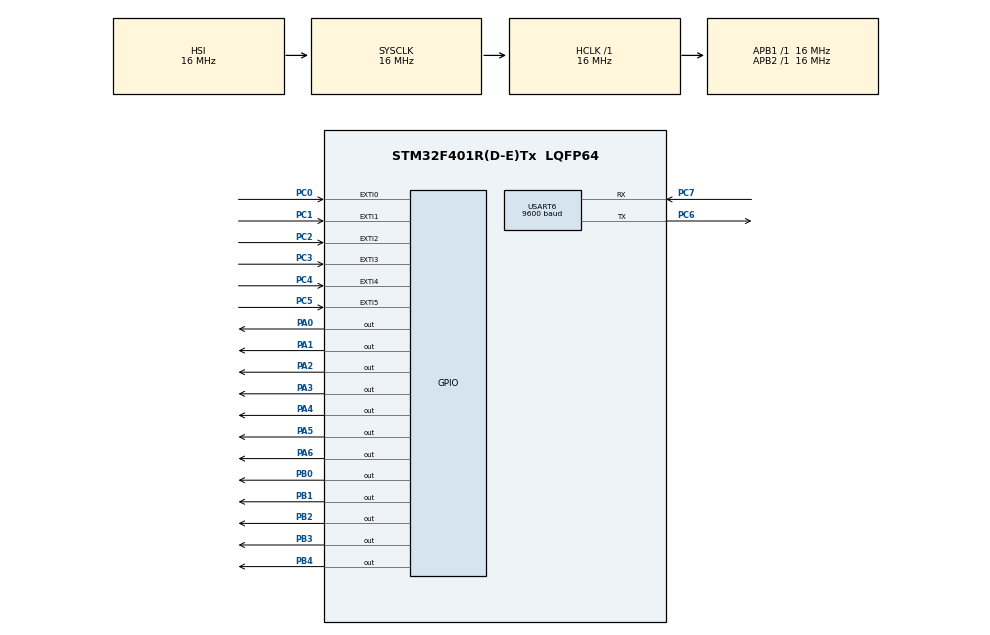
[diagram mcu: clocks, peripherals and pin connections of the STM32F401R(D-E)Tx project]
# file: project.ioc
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Mcu.Family=STM32F4
NVIC.EXTI4_IRQn=true\:0\:0\:false\:false\:true\:true\:true
RCC.CortexFreq_Value=16000000
PC2.Signal=GPXTI2
PC4.Signal=GPXTI4
PC6.Signal=USART6_TX
NVIC.EXTI3_IRQn=true\:0\:0\:false\:false\:true\:true\:true
PC0.Signal=GPXTI0
ProjectManager.StackSize=0x400
PA0-WKUP.Signal=GPIO_Output
NVIC.USART6_IRQn=true\:0\:0\:false\:false\:true\:true\:true
NVIC.EXTI1_IRQn=true\:0\:0\:false\:false\:true\:true\:true
ProjectManager.TargetToolchain=MDK-ARM V5.27
PC6.Mode=Asynchronous
PC7.Signal=USART6_RX
PC3.Signal=GPXTI3
RCC.LSE_VALUE=32768
PA1.Signal=GPIO_Output
RCC.AHBFreq_Value=16000000
PA5.Signal=GPIO_Output
RCC.HSE_VALUE=25000000
PB2.Signal=GPIO_Output
board=custom
RCC.VCOOutputFreq_Value=192000000
RCC.APB2Freq_Value=16000000
Mcu.Name=STM32F401R(D-E)Tx
PA2.Signal=GPIO_Output
PC0.GPIO_ModeDefaultEXTI=GPIO_MODE_IT_RISING_FALLING
PB3.Signal=GPIO_Output
NVIC.EXTI0_IRQn=true\:0\:0\:false\:false\:true\:true\:true
PA4.Signal=GPIO_Output
RCC.SYSCLKFreq_VALUE=16000000
Mcu.Package=LQFP64
PA6.Signal=GPIO_Output
PB1.Signal=GPIO_Output
USART6.VirtualMode=VM_ASYNC
NVIC.EXTI9_5_IRQn=true\:0\:0\:false\:false\:true\:true\:true
ProjectManager.HeapSize=0x200
USART6.BaudRate=9600
RCC.HSI_VALUE=16000000
NVIC.PriorityGroup=NVIC_PRIORITYGROUP_4
NVIC.EXTI2_IRQn=true\:0\:0\:false\:false\:true\:true\:true
PC1.GPIO_ModeDefaultEXTI=GPIO_MODE_IT_RISING_FALLING
PC5.Signal=GPXTI5
PC7.Mode=Asynchronous
RCC.APB1Freq_Value=16000000
PB0.Signal=GPIO_Output
PC1.Signal=GPXTI1
PB4.Signal=GPIO_Output
PA3.Signal=GPIO_Output

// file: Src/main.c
/* USER CODE BEGIN Header */
/**
  ******************************************************************************
  * @file           : main.c
  * @brief          : Main program body
  ******************************************************************************
  * @attention
  *
  * <h2><center>&copy; Copyright (c) 2022 STMicroelectronics.
  * All rights reserved.</center></h2>
  *
  * This software component is licensed by ST under BSD 3-Clause license,
  * the "License"; You may not use this file except in compliance with the
  * License. You may obtain a copy of the License at:
  *                        opensource.org/licenses/BSD-3-Clause
  *
  ******************************************************************************
  */
/* USER CODE END Header */
#include "main.h"

/* USER CODE BEGIN PD */

#define MASK(x) (1UL << (x))

/* USER CODE END PD */

/* USER CODE BEGIN PM */

volatile int state_sel = 0;
volatile int leds[4][4] = {0} ;
volatile uint16_t seven_seg[3] = {0x003F , 0x0006, 0x005B};
volatile uint8_t data_frames[4] = {'\0'};
volatile uint8_t read_frames[2] = {'\0'};
char RxBuffer[1] = {0};
volatile uint16_t GPIO_PINS[8] = {

	GPIO_PIN_0, GPIO_PIN_1,
	GPIO_PIN_2, GPIO_PIN_3,
	GPIO_PIN_4, GPIO_PIN_5,
	GPIO_PIN_6, GPIO_PIN_7

};

/* USER CODE END PM */

UART_HandleTypeDef huart6;

void SystemClock_Config(void);
static void MX_GPIO_Init(void);
static void MX_USART6_UART_Init(void);

/* USER CODE BEGIN 0 */
void write_master_leds(int count){
	for (int i= 0; i<count; i++){
		HAL_GPIO_WritePin(GPIOB, GPIO_PINS[i], leds[state_sel][i]);
	}

}

void assert_bus(){
	HAL_GPIO_WritePin(GPIOB, GPIO_PIN_4, GPIO_PIN_SET);
}
void disassert_bus(){
	HAL_GPIO_WritePin(GPIOB, GPIO_PIN_4, GPIO_PIN_RESET);

}

void create_dataframe(uint8_t addr, uint8_t led_number, uint8_t data){
	sprintf(data_frames, "%hhu%hhu%hhu", addr, led_number, data);
}

/*
void attempt_to_read(){
	uint8_t addr = 0 ;
	uint8_t rw =  0;
	sprintf(read_frames, "%hhu%hhu", addr, rw);
	HAL_UART_Transmit(&huart6, read_frames, sizeof(read_frames), 100);

}
*/

void checkRx(){
	int num = RxBuffer[0] - '0';
	num = num - 4;
	HAL_GPIO_TogglePin(GPIOB, GPIO_PINS[num]);

}

/*
void HAL_UART_RxCpltCallback(UART_HandleTypeDef *huart) {
	int num = RxBuffer[0] - '0';
	num = num - 4;
	HAL_GPIO_TogglePin(GPIOB, GPIO_PINS[num]);

}
*/

void HAL_GPIO_EXTI_Callback(uint16_t GPIO_Pin)
{

	uint16_t GPIOC_PINS[4] = {GPIO_PIN_2, GPIO_PIN_3, GPIO_PIN_4, GPIO_PIN_5};

	uint8_t addr = 0 ;
	uint8_t rw = 0 ;
	uint8_t data = 0;
	state_sel =  GPIOC->IDR & 3;

	for (int i= 0; i<4; i++){
		if(GPIO_Pin == GPIOC_PINS[i]){

			leds[state_sel][i] ^= 1;  //togle selected led in the slave

			//assign values to frames
			addr = state_sel ;
	    rw =  1;
	    data = i;
			create_dataframe(addr, rw, data);
			//send
			if (state_sel == 1){
			assert_bus();
			HAL_UART_Transmit(&huart6, data_frames, sizeof(data_frames), 100);
			disassert_bus();
			}
	 }
	}

}

/* USER CODE END 0 */

int main(void)
{

  /* MCU Configuration--------------------------------------------------------*/

  /* Reset of all peripherals, Initializes the Flash interface and the Systick. */
  HAL_Init();

  /* Configure the system clock */
  SystemClock_Config();

  /* Initialize all configured peripherals */
  MX_GPIO_Init();
  MX_USART6_UART_Init();
  /* USER CODE BEGIN 2 */
	int rcv = 100;
	HAL_GPIO_WritePin(GPIOB, GPIO_PIN_4, GPIO_PIN_RESET);

  /* USER CODE END 2 */

  /* Infinite loop */
  while (1)
  {

    /* USER CODE BEGIN 3 */

		CLEAR_BIT(GPIOA->ODR, 0x7F); //clear PA0-PA6
		SET_BIT(GPIOA->ODR, seven_seg[state_sel]);

		write_master_leds(4);

		HAL_UART_Receive(&huart6, (uint8_t*)RxBuffer, 1, 100);
		rcv = RxBuffer[0] - '0';
		if ((rcv > 3 && rcv < 8) && state_sel == 1){
			leds[state_sel][rcv - 4] ^= 1;

		}
		//HAL_Delay(50);

  }
  /* USER CODE END 3 */
}

void SystemClock_Config(void)
{
  RCC_OscInitTypeDef RCC_OscInitStruct = {0};
  RCC_ClkInitTypeDef RCC_ClkInitStruct = {0};

  /** Configure the main internal regulator output voltage
  */
  __HAL_RCC_PWR_CLK_ENABLE();
  __HAL_PWR_VOLTAGESCALING_CONFIG(PWR_REGULATOR_VOLTAGE_SCALE2);
  /** Initializes the RCC Oscillators according to the specified parameters
  * in the RCC_OscInitTypeDef structure.
  */
  RCC_OscInitStruct.OscillatorType = RCC_OSCILLATORTYPE_HSI;
  RCC_OscInitStruct.HSIState = RCC_HSI_ON;
  RCC_OscInitStruct.HSICalibrationValue = RCC_HSICALIBRATION_DEFAULT;
  RCC_OscInitStruct.PLL.PLLState = RCC_PLL_NONE;
  if (HAL_RCC_OscConfig(&RCC_OscInitStruct) != HAL_OK)
  {
    Error_Handler();
  }
  /** Initializes the CPU, AHB and APB buses clocks
  */
  RCC_ClkInitStruct.ClockType = RCC_CLOCKTYPE_HCLK|RCC_CLOCKTYPE_SYSCLK
                              |RCC_CLOCKTYPE_PCLK1|RCC_CLOCKTYPE_PCLK2;
  RCC_ClkInitStruct.SYSCLKSource = RCC_SYSCLKSOURCE_HSI;
  RCC_ClkInitStruct.AHBCLKDivider = RCC_SYSCLK_DIV1;
  RCC_ClkInitStruct.APB1CLKDivider = RCC_HCLK_DIV1;
  RCC_ClkInitStruct.APB2CLKDivider = RCC_HCLK_DIV1;

  if (HAL_RCC_ClockConfig(&RCC_ClkInitStruct, FLASH_LATENCY_0) != HAL_OK)
  {
    Error_Handler();
  }
}

static void MX_USART6_UART_Init(void)
{

  huart6.Instance = USART6;
  huart6.Init.BaudRate = 9600;
  huart6.Init.WordLength = UART_WORDLENGTH_8B;
  huart6.Init.StopBits = UART_STOPBITS_1;
  huart6.Init.Parity = UART_PARITY_NONE;
  huart6.Init.Mode = UART_MODE_TX_RX;
  huart6.Init.HwFlowCtl = UART_HWCONTROL_NONE;
  huart6.Init.OverSampling = UART_OVERSAMPLING_16;
  if (HAL_UART_Init(&huart6) != HAL_OK)
  {
    Error_Handler();
  }

}

static void MX_GPIO_Init(void)
{
  GPIO_InitTypeDef GPIO_InitStruct = {0};

  /* GPIO Ports Clock Enable */
  __HAL_RCC_GPIOC_CLK_ENABLE();
  __HAL_RCC_GPIOA_CLK_ENABLE();
  __HAL_RCC_GPIOB_CLK_ENABLE();

  /*Configure GPIO pin Output Level */
  HAL_GPIO_WritePin(GPIOA, GPIO_PIN_0|GPIO_PIN_1|GPIO_PIN_2|GPIO_PIN_3
                          |GPIO_PIN_4|GPIO_PIN_5|GPIO_PIN_6, GPIO_PIN_RESET);

  /*Configure GPIO pin Output Level */
  HAL_GPIO_WritePin(GPIOB, GPIO_PIN_0|GPIO_PIN_1|GPIO_PIN_2|GPIO_PIN_3
                          |GPIO_PIN_4, GPIO_PIN_RESET);

  /*Configure GPIO pins : PC0 PC1 */
  GPIO_InitStruct.Pin = GPIO_PIN_0|GPIO_PIN_1;
  GPIO_InitStruct.Mode = GPIO_MODE_IT_RISING_FALLING;
  GPIO_InitStruct.Pull = GPIO_NOPULL;
  HAL_GPIO_Init(GPIOC, &GPIO_InitStruct);

  /*Configure GPIO pins : PC2 PC3 PC4 PC5 */
  GPIO_InitStruct.Pin = GPIO_PIN_2|GPIO_PIN_3|GPIO_PIN_4|GPIO_PIN_5;
  GPIO_InitStruct.Mode = GPIO_MODE_IT_RISING;
  GPIO_InitStruct.Pull = GPIO_NOPULL;
  HAL_GPIO_Init(GPIOC, &GPIO_InitStruct);

  /*Configure GPIO pins : PA0 PA1 PA2 PA3
                           PA4 PA5 PA6 */
  GPIO_InitStruct.Pin = GPIO_PIN_0|GPIO_PIN_1|GPIO_PIN_2|GPIO_PIN_3
                          |GPIO_PIN_4|GPIO_PIN_5|GPIO_PIN_6;
  GPIO_InitStruct.Mode = GPIO_MODE_OUTPUT_PP;
  GPIO_InitStruct.Pull = GPIO_NOPULL;
  GPIO_InitStruct.Speed = GPIO_SPEED_FREQ_LOW;
  HAL_GPIO_Init(GPIOA, &GPIO_InitStruct);

  /*Configure GPIO pins : PB0 PB1 PB2 PB3
                           PB4 */
  GPIO_InitStruct.Pin = GPIO_PIN_0|GPIO_PIN_1|GPIO_PIN_2|GPIO_PIN_3
                          |GPIO_PIN_4;
  GPIO_InitStruct.Mode = GPIO_MODE_OUTPUT_PP;
  GPIO_InitStruct.Pull = GPIO_NOPULL;
  GPIO_InitStruct.Speed = GPIO_SPEED_FREQ_LOW;
  HAL_GPIO_Init(GPIOB, &GPIO_InitStruct);

  /* EXTI interrupt init*/
  HAL_NVIC_SetPriority(EXTI0_IRQn, 0, 0);
  HAL_NVIC_EnableIRQ(EXTI0_IRQn);

  HAL_NVIC_SetPriority(EXTI1_IRQn, 0, 0);
  HAL_NVIC_EnableIRQ(EXTI1_IRQn);

  HAL_NVIC_SetPriority(EXTI2_IRQn, 0, 0);
  HAL_NVIC_EnableIRQ(EXTI2_IRQn);

  HAL_NVIC_SetPriority(EXTI3_IRQn, 0, 0);
  HAL_NVIC_EnableIRQ(EXTI3_IRQn);

  HAL_NVIC_SetPriority(EXTI4_IRQn, 0, 0);
  HAL_NVIC_EnableIRQ(EXTI4_IRQn);

  HAL_NVIC_SetPriority(EXTI9_5_IRQn, 0, 0);
  HAL_NVIC_EnableIRQ(EXTI9_5_IRQn);

}

void Error_Handler(void)
{
  __disable_irq();
  while (1)
  {
  }
}

/************************ (C) COPYRIGHT STMicroelectronics *****END OF FILE****/
